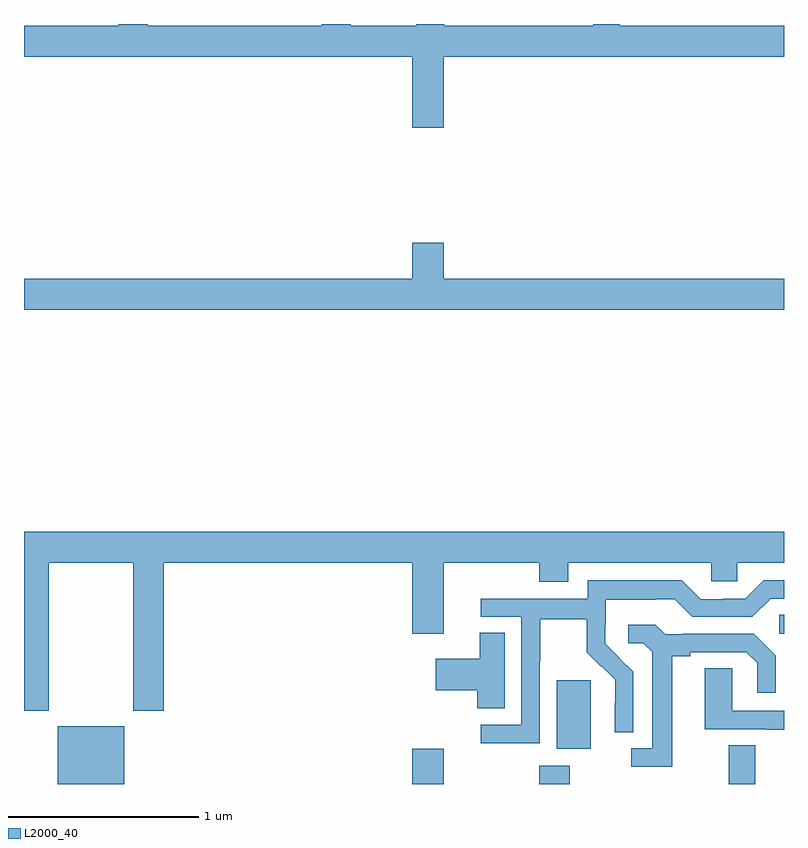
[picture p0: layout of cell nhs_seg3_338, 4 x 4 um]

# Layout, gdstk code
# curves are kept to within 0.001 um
import gdstk
lib = gdstk.Library(unit=1e-6, precision=1e-09)
def R(c, l, rs):  # rectangles x0, y0, x1, y1
    for r in rs: c.add(gdstk.rectangle(r[:2], r[2:], *l))
def P(c, l, *ps):  # polygons
    for p in ps: c.add(gdstk.Polygon(p, *l))
L2000_40 = (2000, 40)

nhs_seg3_338 = lib.new_cell('nhs_seg3_338')
R(nhs_seg3_338, L2000_40, [(127.178,718.4,127.528,718.705), (129.044,718.4,129.208,718.585), (129.713,718.4,129.873,718.495), (130.709,718.4,130.849,718.604), (129.803,718.586,129.982,718.947), (130.974,719.19,131,719.291)])
P(nhs_seg3_338, L2000_40, [(131,722.392),(130.135,722.392),(130.135,722.4),(129.995,722.4),(129.995,722.392),(129.211,722.392),(129.211,722.4),(129.064,722.4),(129.064,722.392),(128.719,722.392),(128.719,722.4),(128.567,722.4),(128.567,722.392),(127.652,722.392),(127.652,722.4),(127.499,722.4),(127.499,722.392),(127,722.392),(127,722.228),(129.044,722.228),(129.044,721.854),(129.208,721.854),(129.208,722.228),(131,722.228)],
  [(131,721.06),(129.208,721.06),(129.208,721.249),(129.044,721.249),(129.044,721.06),(127,721.06),(127,720.896),(131,720.896)],
  [(127.131,719.564),(127.576,719.564),(127.576,718.785),(127.736,718.785),(127.736,719.564),(129.044,719.564),(129.044,719.19),(129.208,719.19),(129.208,719.564),(129.713,719.564),(129.713,719.465),(129.865,719.465),(129.865,719.564),(130.617,719.564),(130.617,719.466),(130.755,719.466),(130.755,719.564),(131,719.564),(131,719.728),(127,719.728),(127,718.785),(127.131,718.785)],
  [(129.714,719.044),(129.717,719.044),(129.717,719.268),(129.961,719.268),(129.961,719.093),(130.038,719.016),(130.041,719.019),(130.112,718.949),(130.112,718.826),(130.11,718.826),(130.11,718.672),(130.206,718.672),(130.206,718.99),(130.06,719.138),(130.06,719.235),(130.062,719.235),(130.062,719.369),(130.325,719.369),(130.325,719.373),(130.425,719.373),(130.518,719.28),(130.833,719.28),(130.929,719.376),(131,719.376),(131,719.472),(130.893,719.472),(130.797,719.376),(130.679,719.376),(130.679,719.373),(130.563,719.373),(130.463,719.473),(129.966,719.473),(129.966,719.376),(129.405,719.376),(129.405,719.28),(129.618,719.28),(129.618,718.713),(129.405,718.713),(129.405,718.615),(129.714,718.615)],
  [(130.411,719.072),(130.507,719.072),(130.507,719.094),(130.802,719.094),(130.859,719.037),(130.859,718.881),(130.956,718.881),(130.956,719.074),(130.84,719.19),(130.468,719.19),(130.468,719.187),(130.374,719.187),(130.322,719.239),(130.179,719.239),(130.179,719.142),(130.26,719.142),(130.307,719.095),(130.307,718.587),(130.197,718.587),(130.197,718.491),(130.411,718.491)],
  [(129.529,719.195),(129.398,719.195),(129.398,719.059),(129.168,719.059),(129.168,718.894),(129.386,718.894),(129.386,718.798),(129.529,718.798)],
  [(131,718.785),(130.728,718.785),(130.728,719.009),(130.583,719.009),(130.583,718.689),(130.907,718.689),(130.907,718.685),(131,718.685)])

lib.write_gds('nhs_seg3_338.gds')
